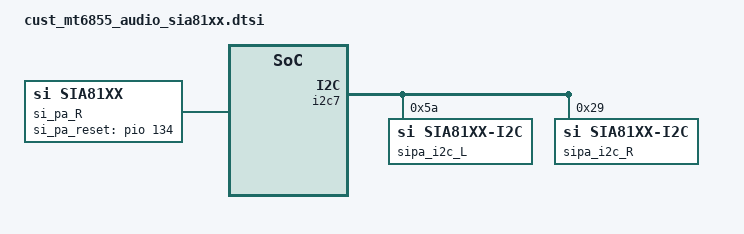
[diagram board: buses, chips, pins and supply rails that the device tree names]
/* Copyright (c) 2018, The Linux Foundation. All rights reserved.
 *
 * This program is free software; you can redistribute it and/or modify
 * it under the terms of the GNU General Public License version 2 and
 * only version 2 as published by the Free Software Foundation.
 *
 * This program is distributed in the hope that it will be useful,
 * but WITHOUT ANY WARRANTY; without even the implied warranty of
 * MERCHANTABILITY or FITNESS FOR A PARTICULAR PURPOSE.  See the
 * GNU General Public License for more details.
 */

&pio {
	sia81xx_gpio_R: sia81xx_gpio_R {
		pins_cmd_dat {
			pinmux = <PINMUX_GPIO134__FUNC_GPIO134>;
			output-low;
		};
	};
};

&odm {
	si_pa_L: si_pa_L {
		compatible = "si,sia81xx";
		si,si_pa_type = "sia8152x";
		si,si_pa_disable_pin = <1>;
		channel_num = <0>;
		status = "okay";
	};

	si_pa_R: si_pa_R {
		compatible = "si,sia81xx";
		si,si_pa_type = "sia81x9";
		si,si_pa_reset = <&pio 134 0>;
		pinctrl-names = "si_pa_gpio";
		pinctrl-0 = <&sia81xx_gpio_R>;
		si,si_pa_disable_pin = <0>;
		channel_num = <1>;
		status = "okay";
	};
};

&sound {
	si,sia81xx-max-num = <2>;
	si,sia81xx-aux-devs = <&si_pa_L>, <&si_pa_R>;
	si,sia81xx-aux-devs-prefix = "SpkrMonoL", "SpkrMonoR";
};

&i2c7 {
	sipa_i2c_L: sipa_i2c_L@5A {
		compatible = "si,sia81xx-i2c";
		reg = <0x5A>;
		si,sipa-dev = <&si_pa_L>;
		status = "okay";
	};

	sipa_i2c_R: sipa_i2c_R@29 {
		compatible = "si,sia81xx-i2c";
		reg = <0x29>;
		si,sipa-dev = <&si_pa_R>;
		status = "okay";
	};
};

